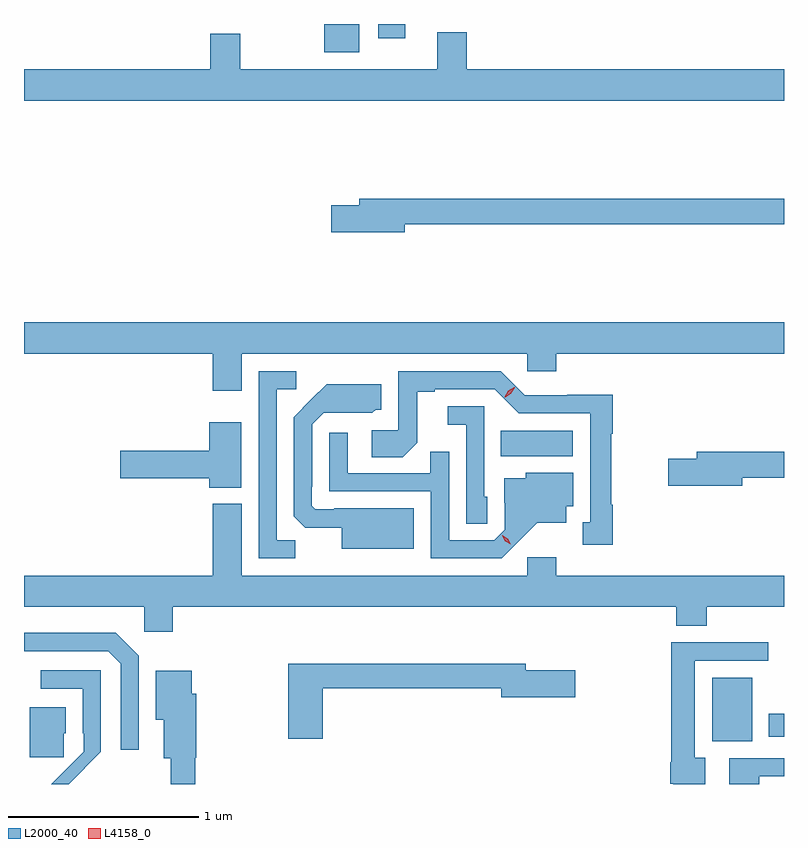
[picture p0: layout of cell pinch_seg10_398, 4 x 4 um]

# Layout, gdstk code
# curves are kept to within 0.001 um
import gdstk
lib = gdstk.Library(unit=1e-6, precision=1e-09)
def R(c, l, rs):  # rectangles x0, y0, x1, y1
    for r in rs: c.add(gdstk.rectangle(r[:2], r[2:], *l))
def P(c, l, *ps):  # polygons
    for p in ps: c.add(gdstk.Polygon(p, *l))
L2000_40 = (2000, 40)
L4158_0 = (4158, 0)

pinch_seg10_398 = lib.new_cell('pinch_seg10_398')
R(pinch_seg10_398, L2000_40, [(374.246,1288.952,374.458,1289.287), (374.543,1288.976,374.624,1289.098), (373.132,1290.452,373.513,1290.586), (372.203,1292.579,372.388,1292.727), (372.488,1292.652,372.631,1292.727)])
P(pinch_seg10_398, L2000_40, [(374.624,1292.488),(372.953,1292.488),(372.953,1292.683),(372.8,1292.683),(372.8,1292.488),(371.763,1292.488),(371.763,1292.677),(371.603,1292.677),(371.603,1292.488),(370.624,1292.488),(370.624,1292.324),(374.624,1292.324)],
  [(372.628,1291.672),(374.624,1291.672),(374.624,1291.808),(372.389,1291.808),(372.389,1291.772),(372.24,1291.772),(372.24,1291.63),(372.628,1291.63)],
  [(371.77,1290.992),(373.272,1290.992),(373.272,1290.899),(373.424,1290.899),(373.424,1290.992),(374.624,1290.992),(374.624,1291.156),(370.624,1291.156),(370.624,1290.992),(371.618,1290.992),(371.618,1290.798),(371.77,1290.798)],
  [(373.723,1290.197),(373.715,1290.197),(373.715,1290.571),(373.723,1290.571),(373.723,1290.776),(373.482,1290.776),(373.482,1290.774),(373.26,1290.774),(373.134,1290.9),(372.594,1290.9),(372.594,1290.588),(372.453,1290.588),(372.453,1290.448),(372.617,1290.448),(372.693,1290.524),(372.693,1290.792),(372.787,1290.792),(372.787,1290.804),(373.101,1290.804),(373.227,1290.678),(373.604,1290.678),(373.604,1290.105),(373.565,1290.105),(373.565,1289.985),(373.723,1289.985)],
  [(372.051,1290.011),(371.955,1290.011),(371.955,1290.804),(372.058,1290.804),(372.058,1290.9),(371.859,1290.9),(371.859,1289.916),(372.051,1289.916)],
  [(372.676,1290.178),(372.256,1290.178),(372.256,1290.174),(372.156,1290.174),(372.138,1290.192),(372.138,1290.292),(372.141,1290.292),(372.141,1290.621),(372.201,1290.681),(372.458,1290.68),(372.474,1290.696),(372.505,1290.696),(372.505,1290.832),(372.217,1290.832),(372.045,1290.658),(372.045,1290.136),(372.104,1290.077),(372.296,1290.077),(372.296,1289.966),(372.676,1289.966)],
  [(373.062,1290.24),(373.047,1290.24),(373.047,1290.714),(372.855,1290.714),(372.855,1290.617),(372.951,1290.617),(372.951,1290.097),(373.062,1290.097)],
  [(371.767,1290.631),(371.6,1290.631),(371.6,1290.482),(371.13,1290.482),(371.13,1290.335),(371.6,1290.335),(371.6,1290.287),(371.767,1290.287)],
  [(373.222,1289.999),(373.325,1290.101),(373.477,1290.101),(373.477,1290.188),(373.516,1290.188),(373.516,1290.364),(373.266,1290.364),(373.266,1290.337),(373.151,1290.337),(373.151,1290.208),(373.155,1290.208),(373.155,1290.066),(373.098,1290.009),(372.861,1290.009),(372.861,1290.476),(372.763,1290.476),(372.763,1290.363),(372.327,1290.363),(372.327,1290.577),(372.231,1290.577),(372.231,1290.267),(372.765,1290.267),(372.765,1289.916),(373.138,1289.916)],
  [(374.404,1290.34),(374.624,1290.34),(374.624,1290.476),(374.165,1290.476),(374.165,1290.44),(374.016,1290.44),(374.016,1290.298),(374.404,1290.298)],
  [(371.408,1289.66),(374.057,1289.66),(374.057,1289.561),(374.217,1289.561),(374.217,1289.66),(374.624,1289.66),(374.624,1289.824),(373.424,1289.824),(373.424,1289.92),(373.272,1289.92),(373.272,1289.824),(371.77,1289.824),(371.77,1290.202),(371.618,1290.202),(371.618,1289.824),(370.624,1289.824),(370.624,1289.66),(371.256,1289.66),(371.256,1289.529),(371.408,1289.529)],
  [(371.229,1289.403),(371.108,1289.524),(370.624,1289.524),(370.624,1289.427),(371.067,1289.427),(371.133,1289.361),(371.133,1288.908),(371.229,1288.908)],
  [(374.209,1288.864),(374.155,1288.864),(374.155,1289.376),(374.542,1289.376),(374.542,1289.474),(374.03,1289.474),(374.03,1288.842),(374.024,1288.842),(374.024,1288.728),(374.042,1288.728),(374.042,1288.727),(374.209,1288.727)],
  [(372.197,1289.23),(373.136,1289.23),(373.136,1289.183),(373.525,1289.183),(373.525,1289.325),(373.264,1289.325),(373.264,1289.359),(372.014,1289.359),(372.014,1288.965),(372.197,1288.965)],
  [(371.028,1288.896),(371.028,1289.325),(370.713,1289.325),(370.713,1289.229),(370.932,1289.229),(370.932,1288.995),(370.938,1288.995),(370.938,1288.898),(370.767,1288.727),(370.859,1288.727)],
  [(371.525,1288.866),(371.531,1288.866),(371.531,1289.202),(371.506,1289.202),(371.506,1289.323),(371.318,1289.323),(371.318,1289.066),(371.36,1289.066),(371.36,1288.862),(371.397,1288.862),(371.397,1288.727),(371.525,1288.727)],
  [(370.832,1288.995),(370.843,1288.995),(370.843,1289.131),(370.655,1289.131),(370.655,1288.867),(370.832,1288.867)],
  [(374.493,1288.767),(374.624,1288.767),(374.624,1288.863),(374.337,1288.863),(374.337,1288.727),(374.493,1288.727)])
P(pinch_seg10_398, L4158_0, [(373.155,1290.763),(373.155,1290.764),(373.173,1290.796),(373.205,1290.814),(373.206,1290.814),(373.206,1290.813),(373.187,1290.782),(373.156,1290.763)],
  [(373.187,1289.988),(373.156,1290.004),(373.14,1290.034),(373.14,1290.035),(373.14,1290.035),(373.17,1290.019),(373.187,1289.988),(373.187,1289.988)])

lib.write_gds('pinch_seg10_398.gds')
